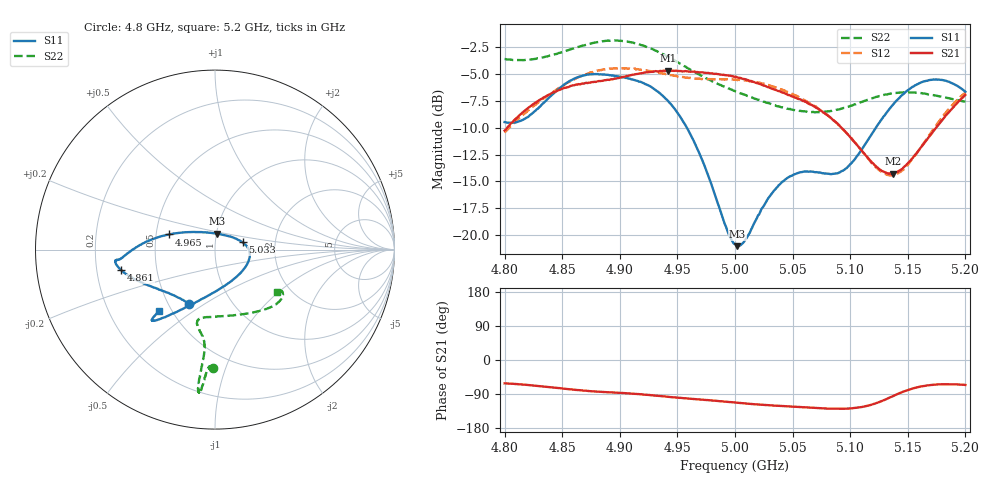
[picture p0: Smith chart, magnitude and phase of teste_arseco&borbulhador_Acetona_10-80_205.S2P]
! Network Analyzer HP8722D
! Hewlett-Packard
! Data name: Linha & Wilkinson
! Saver's name: Rodrigo Anjos
! Comments: Teste da utilização de aquisição
! continua pelo VNA HP8722D
! Time and date: 17/4/2025 16:04
!  Frequency  S11  S21  S12  S22
# HZ  S  MA R 50
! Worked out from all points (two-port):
!   401 points, 4.8 GHz to 5.2 GHz, reference 50 ohm
!   highest |S21| = -4.72 dB at 4.942 GHz (marker M1); lowest = -14.3 dB at 5.137 GHz (marker M2)
!   |S21| within 3 dB of the highest: 4.826 GHz to 5.063 GHz (236.5 MHz wide, 4.78 % of centre); 5.19295 GHz to end of sweep
!   lowest |S11| = -21.0 dB at 5.002 GHz (marker M3), VSWR 1.20, Z = 50.2 + j8.96 ohm
!   |S11| at or under -10 dB: 4.958 GHz to 5.122 GHz (164.2 MHz wide, 3.26 % of centre)
!   |S22| runs from -8.6 to -1.9 dB; largest |S21 - S12| = 0.87
!   S11 on the Smith chart (normalised r, x): 4.8 GHz: 0.63, -0.43; 4.861 GHz: 0.31, -0.10; 4.965 GHz: 0.59, +0.11; 5.033 GHz: 1.36, +0.11; 5.2 GHz: 0.43, -0.37
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4.8e9  0.3353 -115.5  0.3062 -61.7  0.3002 -175.9  0.6574 -90.9
4.819e9  0.3515 -135.6  0.3842 -65.6  0.373 -175.2  0.6524 -92.5
4.861e9  0.5349 -167.5  0.4979 -78.7  0.5315 -178.6  0.7395 -95.0
4.867e9  0.5486 -169.9  0.5061 -80.4  0.549 -179.7  0.7565 -95.2
4.899e9  0.5449 -174.0  0.5367 -86.6  0.5952 174.0  0.799 -96.5
4.934e9  0.4601 -179.9  0.5766 -94.8  0.5695 170.6  0.7065 -96.8
4.942e9  0.4196 176.5  0.5809 -97.2  0.5574 170.8  0.6715 -96.6
4.965e9  0.2681 161.7  0.5755 -103.2  0.5342 172.6  0.5724 -96.0
4.993e9  0.1065 116.2  0.5523 -110.3  0.5296 174.9  0.4844 -98.5
5e9  0.09134 91.5  0.5434 -112.2  0.5281 175.0  0.4665 -99.9
5.002e9  0.08913 83.7  0.5404 -112.9  0.5249 174.9  0.4633 -100.4
5.009e9  0.09556 59.1  0.5298 -114.7  0.5235 174.7  0.4478 -101.9
5.033e9  0.159 14.8  0.4772 -120.0  0.4898 173.5  0.4031 -103.7
5.048e9  0.1881 0.0  0.4453 -122.7  0.4577 172.9  0.3857 -99.7
5.067e9  0.1975 -20.1  0.4017 -125.9  0.4044 172.6  0.3735 -89.3
5.096e9  0.2038 -70.7  0.3013 -128.4  0.3017 174.6  0.3922 -66.5
5.121e9  0.3077 -109.3  0.2122 -115.6  0.2104 -170.4  0.4359 -49.5
5.134e9  0.3851 -119.6  0.1937 -99.5  0.19 -152.5  0.4531 -43.1
5.137e9  0.4027 -121.2  0.1936 -95.5  0.1903 -147.6  0.4565 -41.9
5.148e9  0.4619 -126.1  0.2104 -81.4  0.207 -131.6  0.4606 -37.8
5.17e9  0.5262 -131.1  0.2931 -66.0  0.2994 -112.3  0.4496 -32.7
5.2e9  0.4634 -132.2  0.4478 -65.9  0.4602 -108.1  0.4163 -34.4
